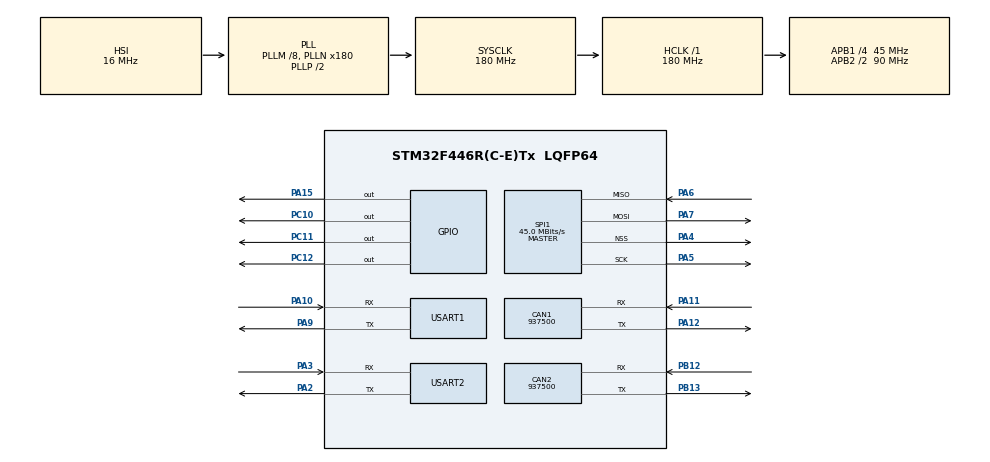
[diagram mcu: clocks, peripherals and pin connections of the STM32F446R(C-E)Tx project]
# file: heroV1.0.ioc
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CAN1.CalculateBaudRate=937500
CAN1.CalculateTimeBit=1066
CAN1.CalculateTimeQuantum=355.55555555555554
CAN2.CalculateBaudRate=937500
CAN2.CalculateTimeBit=1066
CAN2.CalculateTimeQuantum=355.55555555555554
Dma.Request0=USART1_TX
Dma.Request1=USART1_RX
Dma.USART1_RX.1.Direction=DMA_PERIPH_TO_MEMORY
Dma.USART1_RX.1.FIFOMode=DMA_FIFOMODE_DISABLE
Dma.USART1_RX.1.Instance=DMA2_Stream2
Dma.USART1_RX.1.MemDataAlignment=DMA_MDATAALIGN_BYTE
Dma.USART1_RX.1.MemInc=DMA_MINC_ENABLE
Dma.USART1_RX.1.Mode=DMA_NORMAL
Dma.USART1_RX.1.PeriphDataAlignment=DMA_PDATAALIGN_BYTE
Dma.USART1_RX.1.PeriphInc=DMA_PINC_DISABLE
Dma.USART1_RX.1.Priority=DMA_PRIORITY_LOW
Dma.USART1_TX.0.Direction=DMA_MEMORY_TO_PERIPH
Dma.USART1_TX.0.FIFOMode=DMA_FIFOMODE_DISABLE
Dma.USART1_TX.0.Instance=DMA2_Stream7
Dma.USART1_TX.0.MemDataAlignment=DMA_MDATAALIGN_BYTE
Dma.USART1_TX.0.MemInc=DMA_MINC_ENABLE
Dma.USART1_TX.0.Mode=DMA_NORMAL
Dma.USART1_TX.0.PeriphDataAlignment=DMA_PDATAALIGN_BYTE
Dma.USART1_TX.0.PeriphInc=DMA_PINC_DISABLE
Dma.USART1_TX.0.Priority=DMA_PRIORITY_LOW
Mcu.Family=STM32F4
Mcu.Name=STM32F446R(C-E)Tx
Mcu.Package=LQFP64
NVIC.DMA2_Stream2_IRQn=true\:0\:0\:false\:false\:true\:false\:true\:true
NVIC.DMA2_Stream7_IRQn=true\:0\:0\:false\:false\:true\:false\:true\:true
NVIC.PriorityGroup=NVIC_PRIORITYGROUP_4
NVIC.USART1_IRQn=true\:0\:0\:false\:false\:true\:true\:true\:true
PA10.Mode=Asynchronous
PA10.Signal=USART1_RX
PA11.Mode=CAN_Activate
PA11.Signal=CAN1_RX
PA12.Mode=CAN_Activate
PA12.Signal=CAN1_TX
PA13.Mode=Serial_Wire
PA13.Signal=SYS_JTMS-SWDIO
PA14.Mode=Serial_Wire
PA14.Signal=SYS_JTCK-SWCLK
PA15.GPIO_Speed=GPIO_SPEED_FREQ_HIGH
PA15.PinState=GPIO_PIN_RESET
PA15.Signal=GPIO_Output
PA2.Mode=Asynchronous
PA2.Signal=USART2_TX
PA3.Mode=Asynchronous
PA3.Signal=USART2_RX
PA4.Mode=NSS_Signal_Hard_Output
PA4.Signal=SPI1_NSS
PA5.Mode=Full_Duplex_Master
PA5.Signal=SPI1_SCK
PA6.Mode=Full_Duplex_Master
PA6.Signal=SPI1_MISO
PA7.Mode=Full_Duplex_Master
PA7.Signal=SPI1_MOSI
PA9.Mode=Asynchronous
PA9.Signal=USART1_TX
PB12.Mode=CAN_Activate
PB12.Signal=CAN2_RX
PB13.Mode=CAN_Activate
PB13.Signal=CAN2_TX
PC10.GPIO_Speed=GPIO_SPEED_FREQ_HIGH
PC10.Signal=GPIO_Output
PC11.GPIO_Speed=GPIO_SPEED_FREQ_HIGH
PC11.Signal=GPIO_Output
PC12.GPIO_Speed=GPIO_SPEED_FREQ_HIGH
PC12.Signal=GPIO_Output
PH0-OSC_IN.Mode=HSE-External-Oscillator
PH0-OSC_IN.Signal=RCC_OSC_IN
PH1-OSC_OUT.Mode=HSE-External-Oscillator
PH1-OSC_OUT.Signal=RCC_OSC_OUT
ProjectManager.HeapSize=0x200
ProjectManager.StackSize=0x400
ProjectManager.TargetToolchain=MDK-ARM V5.32
RCC.AHBFreq_Value=180000000
RCC.APB1CLKDivider=RCC_HCLK_DIV4
RCC.APB1Freq_Value=45000000
RCC.APB1TimFreq_Value=90000000
RCC.APB2CLKDivider=RCC_HCLK_DIV2
RCC.APB2Freq_Value=90000000
RCC.APB2TimFreq_Value=180000000
RCC.CortexFreq_Value=180000000
RCC.HCLKFreq_Value=180000000
RCC.PLLM=8
RCC.PLLN=180
RCC.SYSCLKFreq_VALUE=180000000
RCC.SYSCLKSource=RCC_SYSCLKSOURCE_PLLCLK
RCC.USBFreq_Value=180000000
RCC.VCOOutputFreq_Value=360000000
SPI1.CalculateBaudRate=45.0 MBits/s
SPI1.Direction=SPI_DIRECTION_2LINES
SPI1.Mode=SPI_MODE_MASTER
SPI1.VirtualNSS=VM_NSSHARD
SPI1.VirtualType=VM_MASTER
USART1.VirtualMode=VM_ASYNC
USART2.VirtualMode=VM_ASYNC
VP_TIM6_VS_ClockSourceINT.Mode=Enable_Timer
VP_TIM7_VS_ClockSourceINT.Mode=Enable_Timer
board=custom

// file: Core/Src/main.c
/* USER CODE BEGIN Header */
/**
  ******************************************************************************
  * @file           : main.c
  * @brief          : Main program body
  ******************************************************************************
  * @attention
  *
  * Copyright (c) 2024 STMicroelectronics.
  * All rights reserved.
  *
  * This software is licensed under terms that can be found in the LICENSE file
  * in the root directory of this software component.
  * If no LICENSE file comes with this software, it is provided AS-IS.
  *
  ******************************************************************************
  */
/* USER CODE END Header */
#include "main.h"
#include "can.h"
#include "dma.h"
#include "spi.h"
#include "tim.h"
#include "usart.h"
#include "gpio.h"

/* USER CODE BEGIN Includes */
#include "SEGGER_RTT.h"
#include "mpu6050.h"
#include "imu.h"
#include "filter.h"
#include <string.h>
#include "function.h"
#include "MahonyAHRS.h"
#include "MadgwickAHRS.h"
#include "internal_flash.h"
/* USER CODE END Includes */

void SystemClock_Config(void);

/* USER CODE BEGIN 0 */
uint8_t read_mode;
/* USER CODE END 0 */

int main(void)
{

	/* MCU Configuration--------------------------------------------------------*/

	/* Reset of all peripherals, Initializes the Flash interface and the Systick. */
	HAL_Init();

	/* Configure the system clock */
	SystemClock_Config();

	/* Initialize all configured peripherals */
	//MX_GPIO_Init();
	MX_DMA_Init();
	MX_CAN1_Init();
	MX_CAN2_Init();
	MX_SPI1_Init();
	MX_USART1_UART_Init();
	HAL_UART_MspInit(&huart1);
	MX_USART2_UART_Init();
	MX_TIM6_Init();
	MX_TIM7_Init();
	/* USER CODE BEGIN 2 */
	kalman_param_init(&pitchk);
	kalman_param_init(&rollk);
	kalman_param_init(&yawk);
	MPU6050_Init();

	flash_erase();
	double data[1024];
	/* USER CODE END 2 */

	/* Infinite loop */
	while (1)
	{
		MPU6050_GetData();
		MPU6050_CorrectData();
		MPU6050_TransData();
		if (read_mode == '1')
			IMUupdate(gyro_x, gyro_y, gyro_z, accel_x, accel_y, accel_z);
		else if (read_mode == '2')
			MahonyAHRSupdateIMU(gyro_x, gyro_y, gyro_z, accel_x, accel_y, accel_z);
		else if (read_mode == '3')
			MadgwickAHRSupdateIMU(gyro_x, gyro_y, gyro_z, accel_x, accel_y, accel_z);
		else if (read_mode == '4')
			Roll = Complementary_Filter_x(angle_x, gyro_x), \
			Pitch= Complementary_Filter_y(angle_y, gyro_y), \
			Yaw += gyro_z * 0.002;//差了3倍。。。该用定时器中断的
		else if (read_mode == '5')
			Roll = Kalman_Filter_x(angle_x, gyro_x), \
			Pitch= Kalman_Filter_y(angle_y, gyro_y), \
			Yaw += gyro_z * 0.002;
		if (read_mode != '0')
			printf("%8.2f,%8.2f,%8.2f\n", Roll, Pitch, Yaw), \
			SEGGER_RTT_printf(0, "%8.2f,%8.2f,%8.2f\n", Roll, Pitch, Yaw);
		flash_write_double(Yaw);
		//STMFLASH_Write(FLASHSIZE_BASE, (uint32_t *)&Yaw, 1);
		//flash_read(data);

		HAL_Delay(2);
	}
}

void SystemClock_Config(void)
{
  RCC_OscInitTypeDef RCC_OscInitStruct = {0};
  RCC_ClkInitTypeDef RCC_ClkInitStruct = {0};

  /** Configure the main internal regulator output voltage
  */
  __HAL_RCC_PWR_CLK_ENABLE();
  __HAL_PWR_VOLTAGESCALING_CONFIG(PWR_REGULATOR_VOLTAGE_SCALE1);

  /** Initializes the RCC Oscillators according to the specified parameters
  * in the RCC_OscInitTypeDef structure.
  */
  RCC_OscInitStruct.OscillatorType = RCC_OSCILLATORTYPE_HSI;
  RCC_OscInitStruct.HSIState = RCC_HSI_ON;
  RCC_OscInitStruct.HSICalibrationValue = RCC_HSICALIBRATION_DEFAULT;
  RCC_OscInitStruct.PLL.PLLState = RCC_PLL_ON;
  RCC_OscInitStruct.PLL.PLLSource = RCC_PLLSOURCE_HSI;
  RCC_OscInitStruct.PLL.PLLM = 8;
  RCC_OscInitStruct.PLL.PLLN = 180;
  RCC_OscInitStruct.PLL.PLLP = RCC_PLLP_DIV2;
  RCC_OscInitStruct.PLL.PLLQ = 2;
  RCC_OscInitStruct.PLL.PLLR = 2;
  if (HAL_RCC_OscConfig(&RCC_OscInitStruct) != HAL_OK)
  {
    Error_Handler();
  }

  /** Activate the Over-Drive mode
  */
  if (HAL_PWREx_EnableOverDrive() != HAL_OK)
  {
    Error_Handler();
  }

  /** Initializes the CPU, AHB and APB buses clocks
  */
  RCC_ClkInitStruct.ClockType = RCC_CLOCKTYPE_HCLK|RCC_CLOCKTYPE_SYSCLK
                              |RCC_CLOCKTYPE_PCLK1|RCC_CLOCKTYPE_PCLK2;
  RCC_ClkInitStruct.SYSCLKSource = RCC_SYSCLKSOURCE_PLLCLK;
  RCC_ClkInitStruct.AHBCLKDivider = RCC_SYSCLK_DIV1;
  RCC_ClkInitStruct.APB1CLKDivider = RCC_HCLK_DIV4;
  RCC_ClkInitStruct.APB2CLKDivider = RCC_HCLK_DIV2;

  if (HAL_RCC_ClockConfig(&RCC_ClkInitStruct, FLASH_LATENCY_5) != HAL_OK)
  {
    Error_Handler();
  }
}

void Error_Handler(void)
{
  /* USER CODE BEGIN Error_Handler_Debug */
  /* User can add his own implementation to report the HAL error return state */
  __disable_irq();
  while (1)
  {
	  assert_param(0);
  }
  /* USER CODE END Error_Handler_Debug */
}
